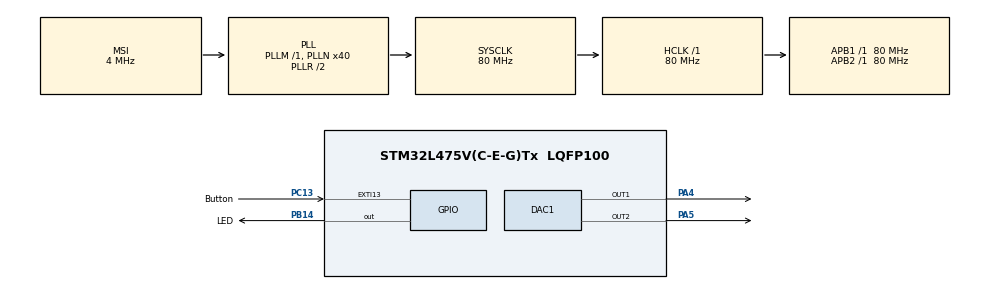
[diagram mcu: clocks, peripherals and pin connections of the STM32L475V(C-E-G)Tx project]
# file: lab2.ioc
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Mcu.Family=STM32L4
RCC.MSI_VALUE=4000000
RCC.CortexFreq_Value=80000000
DAC1.DAC_Channel-DAC_OUT2=DAC_CHANNEL_2
SH.COMP_DAC12_group.0=DAC1_OUT2,DAC_OUT2
PC13.Signal=GPXTI13
PB14.GPIO_Label=LED
PC13.GPIO_Label=Button
RCC.SYSCLKSource=RCC_SYSCLKSOURCE_PLLCLK
ProjectManager.StackSize=0x400
PB3\ (JTDO-TRACESWO).Signal=SYS_JTDO-SWO
ProjectManager.TargetToolchain=STM32CubeIDE
SH.COMP_DAC11_group.0=DAC1_OUT1,DAC_OUT1
RCC.HCLKFreq_Value=80000000
RCC.APB2TimFreq_Value=80000000
RCC.USBFreq_Value=48000000
RCC.AHBFreq_Value=80000000
PB14.Signal=GPIO_Output
PA5.Signal=COMP_DAC12_group
RCC.HSE_VALUE=8000000
board=B-L475E-IOT01A1
RCC.VCOOutputFreq_Value=160000000
RCC.APB2Freq_Value=80000000
RCC.ADCFreq_Value=48000000
Mcu.Name=STM32L475V(C-E-G)Tx
PA4.Signal=COMP_DAC11_group
RCC.SYSCLKFreq_VALUE=80000000
Mcu.Package=LQFP100
ProjectManager.HeapSize=0x200
RCC.HSI_VALUE=16000000
NVIC.PriorityGroup=NVIC_PRIORITYGROUP_4
RCC.PLLN=40
RCC.APB1TimFreq_Value=80000000
PA13\ (JTMS-SWDIO).Signal=SYS_JTMS-SWDIO
RCC.APB1Freq_Value=80000000
RCC.PLLSAI1N=24

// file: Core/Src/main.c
/* USER CODE BEGIN Header */
/**
  ******************************************************************************
  * @file           : main.c
  * @brief          : Main program body
  ******************************************************************************
  * @attention
  *
  * <h2><center>&copy; Copyright (c) 2020 STMicroelectronics.
  * All rights reserved.</center></h2>
  *
  * This software component is licensed by ST under BSD 3-Clause license,
  * the "License"; You may not use this file except in compliance with the
  * License. You may obtain a copy of the License at:
  *                        opensource.org/licenses/BSD-3-Clause
  *
  ******************************************************************************
  */
/* USER CODE END Header */

#include "main.h"

/* USER CODE BEGIN Includes */
#define ARM_MATH_CM4
#include "arm_math.h"
/* USER CODE END Includes */

DAC_HandleTypeDef hdac1;

void SystemClock_Config(void);
static void MX_GPIO_Init(void);
static void MX_DAC1_Init(void);
/* USER CODE BEGIN PFP */
DAC_HandleTypeDef hdac1;
/* USER CODE END PFP */

int main(void)
{

  /* MCU Configuration--------------------------------------------------------*/

  /* Reset of all peripherals, Initializes the Flash interface and the Systick. */
  HAL_Init();

  /* Configure the system clock */
  SystemClock_Config();

  /* Initialize all configured peripherals */
  MX_GPIO_Init();
  MX_DAC1_Init();
  /* USER CODE BEGIN 2 */

	HAL_DAC_Start(&hdac1, DAC_CHANNEL_1);
	HAL_DAC_Start(&hdac1, DAC_CHANNEL_2);
  	uint16_t saw = 0;
  	uint16_t triangle = 0;
  	int flag = 0;
  	float32_t radian = 0;
  	float32_t sine =0;
  /* USER CODE END 2 */

  /* Infinite loop */
  while (1)
  {

    /* USER CODE BEGIN 3 */

	//Part 1 - button press trigger LED on
	if(!HAL_GPIO_ReadPin(GPIOC, Button_Pin)){
		  HAL_GPIO_WritePin(GPIOB, LED_Pin, GPIO_PIN_SET);
	}
	else{
		  HAL_GPIO_WritePin(GPIOB,LED_Pin, GPIO_PIN_RESET);
	}

	//Part 2 -DAC
	HAL_Delay(2);
	//Saw
	saw += 63;
	if(saw >= 4095) saw =0;

	//Sin wave
	radian += (2 * PI)/65;
	sine =  2048 * arm_sin_f32(radian) + 2048;
	HAL_DAC_SetValue(&hdac1, DAC_CHANNEL_1, DAC_ALIGN_12B_R,sine);

	//Triangle
	if(flag == 0) triangle += 117;
	if(flag == 1) triangle -= 117;
	HAL_DAC_SetValue(&hdac1, DAC_CHANNEL_2, DAC_ALIGN_12B_R,triangle);
	if(triangle >= 4095) flag = 1;
	if(triangle == 0) flag =0;

  }
  /* USER CODE END 3 */
}

void SystemClock_Config(void)
{
  RCC_OscInitTypeDef RCC_OscInitStruct = {0};
  RCC_ClkInitTypeDef RCC_ClkInitStruct = {0};

  /** Initializes the RCC Oscillators according to the specified parameters
  * in the RCC_OscInitTypeDef structure.
  */
  RCC_OscInitStruct.OscillatorType = RCC_OSCILLATORTYPE_MSI;
  RCC_OscInitStruct.MSIState = RCC_MSI_ON;
  RCC_OscInitStruct.MSICalibrationValue = 0;
  RCC_OscInitStruct.MSIClockRange = RCC_MSIRANGE_6;
  RCC_OscInitStruct.PLL.PLLState = RCC_PLL_ON;
  RCC_OscInitStruct.PLL.PLLSource = RCC_PLLSOURCE_MSI;
  RCC_OscInitStruct.PLL.PLLM = 1;
  RCC_OscInitStruct.PLL.PLLN = 40;
  RCC_OscInitStruct.PLL.PLLP = RCC_PLLP_DIV7;
  RCC_OscInitStruct.PLL.PLLQ = RCC_PLLQ_DIV2;
  RCC_OscInitStruct.PLL.PLLR = RCC_PLLR_DIV2;
  if (HAL_RCC_OscConfig(&RCC_OscInitStruct) != HAL_OK)
  {
    Error_Handler();
  }
  /** Initializes the CPU, AHB and APB buses clocks
  */
  RCC_ClkInitStruct.ClockType = RCC_CLOCKTYPE_HCLK|RCC_CLOCKTYPE_SYSCLK
                              |RCC_CLOCKTYPE_PCLK1|RCC_CLOCKTYPE_PCLK2;
  RCC_ClkInitStruct.SYSCLKSource = RCC_SYSCLKSOURCE_PLLCLK;
  RCC_ClkInitStruct.AHBCLKDivider = RCC_SYSCLK_DIV1;
  RCC_ClkInitStruct.APB1CLKDivider = RCC_HCLK_DIV1;
  RCC_ClkInitStruct.APB2CLKDivider = RCC_HCLK_DIV1;

  if (HAL_RCC_ClockConfig(&RCC_ClkInitStruct, FLASH_LATENCY_4) != HAL_OK)
  {
    Error_Handler();
  }
  /** Configure the main internal regulator output voltage
  */
  if (HAL_PWREx_ControlVoltageScaling(PWR_REGULATOR_VOLTAGE_SCALE1) != HAL_OK)
  {
    Error_Handler();
  }
}

static void MX_DAC1_Init(void)
{

  DAC_ChannelConfTypeDef sConfig = {0};

  /** DAC Initialization
  */
  hdac1.Instance = DAC1;
  if (HAL_DAC_Init(&hdac1) != HAL_OK)
  {
    Error_Handler();
  }
  /** DAC channel OUT1 config
  */
  sConfig.DAC_SampleAndHold = DAC_SAMPLEANDHOLD_DISABLE;
  sConfig.DAC_Trigger = DAC_TRIGGER_NONE;
  sConfig.DAC_OutputBuffer = DAC_OUTPUTBUFFER_ENABLE;
  sConfig.DAC_ConnectOnChipPeripheral = DAC_CHIPCONNECT_DISABLE;
  sConfig.DAC_UserTrimming = DAC_TRIMMING_FACTORY;
  if (HAL_DAC_ConfigChannel(&hdac1, &sConfig, DAC_CHANNEL_1) != HAL_OK)
  {
    Error_Handler();
  }
  /** DAC channel OUT2 config
  */
  sConfig.DAC_ConnectOnChipPeripheral = DAC_CHIPCONNECT_DISABLE;
  if (HAL_DAC_ConfigChannel(&hdac1, &sConfig, DAC_CHANNEL_2) != HAL_OK)
  {
    Error_Handler();
  }

}

static void MX_GPIO_Init(void)
{
  GPIO_InitTypeDef GPIO_InitStruct = {0};

  /* GPIO Ports Clock Enable */
  __HAL_RCC_GPIOC_CLK_ENABLE();
  __HAL_RCC_GPIOA_CLK_ENABLE();
  __HAL_RCC_GPIOB_CLK_ENABLE();

  /*Configure GPIO pin Output Level */
  HAL_GPIO_WritePin(LED_GPIO_Port, LED_Pin, GPIO_PIN_RESET);

  /*Configure GPIO pin : Button_Pin */
  GPIO_InitStruct.Pin = Button_Pin;
  GPIO_InitStruct.Mode = GPIO_MODE_IT_RISING;
  GPIO_InitStruct.Pull = GPIO_NOPULL;
  HAL_GPIO_Init(Button_GPIO_Port, &GPIO_InitStruct);

  /*Configure GPIO pin : LED_Pin */
  GPIO_InitStruct.Pin = LED_Pin;
  GPIO_InitStruct.Mode = GPIO_MODE_OUTPUT_PP;
  GPIO_InitStruct.Pull = GPIO_NOPULL;
  GPIO_InitStruct.Speed = GPIO_SPEED_FREQ_LOW;
  HAL_GPIO_Init(LED_GPIO_Port, &GPIO_InitStruct);

}

void Error_Handler(void)
{
}

/************************ (C) COPYRIGHT STMicroelectronics *****END OF FILE****/
